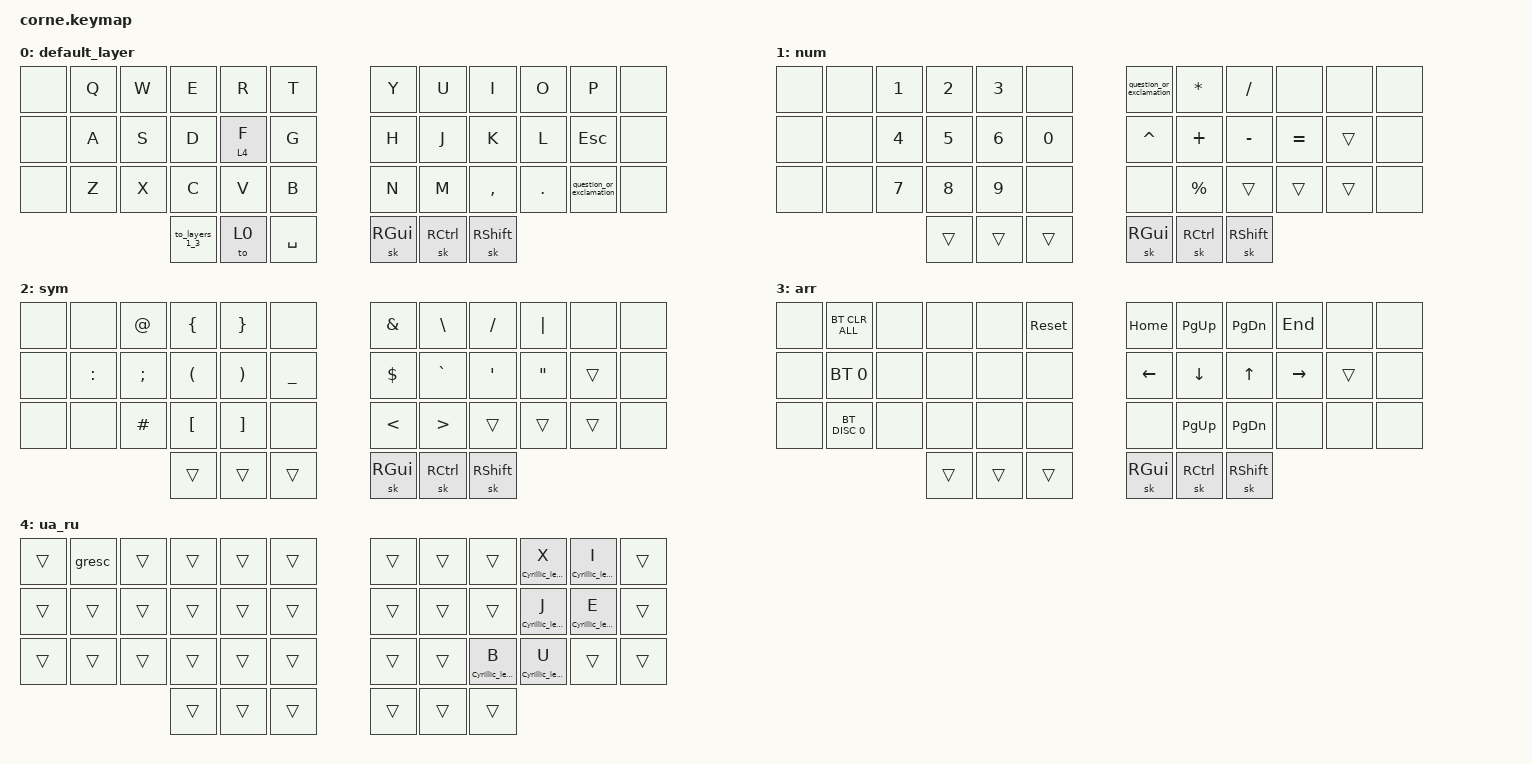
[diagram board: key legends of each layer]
/*
 * Copyright (c) 2020 The ZMK Contributors
 *
 * SPDX-License-Identifier: MIT
 */

#include <behaviors.dtsi>
#include <dt-bindings/zmk/bt.h>
#include <dt-bindings/zmk/keys.h>

#define SPLIT_USB_DETECT
#define DEFAULT 0
#define LOWER   1
#define RAISE   2
#define ADJUST  3
#define LWR LOWER
#define RSE RAISE
#define ADJ ADJUST

&lt {
    quick-tap-ms = <200>;
    require-prior-idle-ms = <125>;
};

/ {
    behaviors {
        //                 Key positions
        //       0  1  2  3  4  5    6  7  8  9 10 11
        //      12 13 14 15 16 17   18 19 20 21 22 23
        //      24 25 26 27 28 29   30 31 32 33 34 35
        //               36 37 38   39 40 41

        hml: homerow_mods_left {
            compatible = "zmk,behavior-hold-tap";
            label = "HOMEROW_MODS_LEFT";
            #binding-cells = <2>;
            flavor = "tap-preferred";
            tapping-term-ms = <250>;
            quick-tap-ms = <180>;
            bindings = <&kp>, <&kp>;

            hold-trigger-key-positions = <
                                         6  7  8  9 10
                       13 14 15 16      18 19 20 21 22
                          26            30 31 32 33 34
                             36 37 38   39 40 41
            >;

            // <---[[right-hand keys + all homerow mods + all thumbs]]
        };

        hmr: homerow_mods_right {
            compatible = "zmk,behavior-hold-tap";
            label = "HOMEROW_MODS_RIGHT";
            #binding-cells = <2>;
            flavor = "tap-preferred";
            tapping-term-ms = <250>;
            quick-tap-ms = <180>;
            bindings = <&kp>, <&kp>;

            hold-trigger-key-positions = <
                        1  2  3  4  5
                       13 14 15 16 17      19 20 21 22
                       25 26 27 28 29            33
                             36 37 38   39 40 41
            >;

            // <---[[left-hand keys + all homerow mods + all thumbs]]

            retro-tap;
        };

        shift_lt: shift_lt {
            compatible = "zmk,behavior-hold-tap";
            label = "SHIFT_LT";
            bindings = <&mo>, <&sk>;

            #binding-cells = <2>;
            tapping-term-ms = <150>;
            flavor = "tap-preferred";
        };

        question_or_exclamation: question_or_exclamation {
            compatible = "zmk,behavior-mod-morph";
            label = "?/!";
            bindings = <&kp QUESTION>, <&kp EXCL>;

            #binding-cells = <0>;
            mods = <(MOD_RSFT|MOD_LSFT)>;
        };

        to_layers_1_3: to_layers_1_3 {
            compatible = "zmk,behavior-tap-dance";
            label = "TO_LAYERS_1_3";
            #binding-cells = <0>;
            bindings = <&to 1>, <&to 3>;

            tapping-term-ms = <350>;
        };
    };

    combos {
        compatible = "zmk,combos";

        return {
            bindings = <&kp RET>;
            key-positions = <19 20>;
        };

        tab {
            bindings = <&kp TAB>;
            key-positions = <13 14>;
        };

        caps_word {
            bindings = <&caps_word>;
            key-positions = <36 41>;
        };

        right_atl {
            bindings = <&sk RIGHT_ALT>;
            key-positions = <39 38>;
        };

        backspace {
            bindings = <&kp BACKSPACE>;
            key-positions = <16 15>;
        };

        layer_2 {
            bindings = <&to 2>;
            key-positions = <37 40>;
        };
    };

    conditional_layers { compatible = "zmk,conditional-layers"; };

    macros {
        Cyrillic_letter_compose: Cyrillic {
            compatible = "zmk,behavior-macro-one-param";
            #binding-cells = <1>;
            bindings =
                <&macro_press &kp K_CONTEXT_MENU>,
                <&macro_param_1to1>,
                <&macro_tap &kp MACRO_PLACEHOLDER>,
                <&macro_release &kp K_CONTEXT_MENU>;

            label = "CYRILLIC";
        };
    };

    keymap {
        compatible = "zmk,keymap";

        default_layer {
            bindings = <
&none  &kp Q  &kp W  &kp E           &kp R    &kp T        &kp Y     &kp U              &kp I            &kp O       &kp P                     &none
&none  &kp A  &kp S  &kp D           &lt 4 F  &kp G        &kp H     &kp J              &kp K            &kp L       &kp ESCAPE                &none
&none  &kp Z  &kp X  &kp C           &kp V    &kp B        &kp N     &kp M              &kp COMMA        &kp PERIOD  &question_or_exclamation  &none
                     &to_layers_1_3  &to 0    &kp SPACE    &sk RGUI  &sk RIGHT_CONTROL  &sk RIGHT_SHIFT
            >;
        };

        numbers {
            bindings = <
&none  &none  &kp N1  &kp N2  &kp N3  &none           &question_or_exclamation  &kp STAR           &kp SLASH        &none      &none   &none
&none  &none  &kp N4  &kp N5  &kp N6  &kp NUMBER_0    &kp CARET                 &kp PLUS           &kp MINUS        &kp EQUAL  &trans  &none
&none  &none  &kp N7  &kp N8  &kp N9  &none           &none                     &kp PERCENT        &trans           &trans     &trans  &none
                      &trans  &trans  &trans          &sk RGUI                  &sk RIGHT_CONTROL  &sk RIGHT_SHIFT
            >;

            label = "num";
        };

        symbols {
            label = "sym";
            bindings = <
&none  &none      &kp AT_SIGN    &kp LEFT_BRACE        &kp RIGHT_BRACE        &none             &kp AMPERSAND  &kp BACKSLASH      &kp SLASH        &kp PIPE           &none   &none
&none  &kp COLON  &kp SEMICOLON  &kp LEFT_PARENTHESIS  &kp RIGHT_PARENTHESIS  &kp UNDERSCORE    &kp DOLLAR     &kp GRAVE          &kp SQT          &kp DOUBLE_QUOTES  &trans  &none
&none  &none      &kp HASH       &kp LEFT_BRACKET      &kp RIGHT_BRACKET      &none             &kp LESS_THAN  &kp GREATER_THAN   &trans           &trans             &trans  &none
                                 &trans                &trans                 &trans            &sk RGUI       &sk RIGHT_CONTROL  &sk RIGHT_SHIFT
            >;
        };

        arrows {
            label = "arr";
            bindings = <
&none  &bt BT_CLR_ALL  &none  &none   &none   &sys_reset    &kp HOME  &kp PG_UP          &kp PAGE_DOWN    &kp END          &none   &none
&none  &bt BT_SEL 0    &none  &none   &none   &none         &kp LEFT  &kp DOWN_ARROW     &kp UP_ARROW     &kp RIGHT_ARROW  &trans  &none
&none  &bt BT_DISC 0   &none  &none   &none   &none         &none     &kp PAGE_UP        &kp PAGE_DOWN    &none            &none   &none
                              &trans  &trans  &trans        &sk RGUI  &sk RIGHT_CONTROL  &sk RIGHT_SHIFT
            >;
        };

        ua_ru {
            bindings = <
&trans  &gresc  &trans  &trans  &trans  &trans    &trans  &trans  &trans                      &Cyrillic_letter_compose X  &Cyrillic_letter_compose I  &trans
&trans  &trans  &trans  &trans  &trans  &trans    &trans  &trans  &trans                      &Cyrillic_letter_compose J  &Cyrillic_letter_compose E  &trans
&trans  &trans  &trans  &trans  &trans  &trans    &trans  &trans  &Cyrillic_letter_compose B  &Cyrillic_letter_compose U  &trans                      &trans
                        &trans  &trans  &trans    &trans  &trans  &trans
            >;
        };
    };
};
